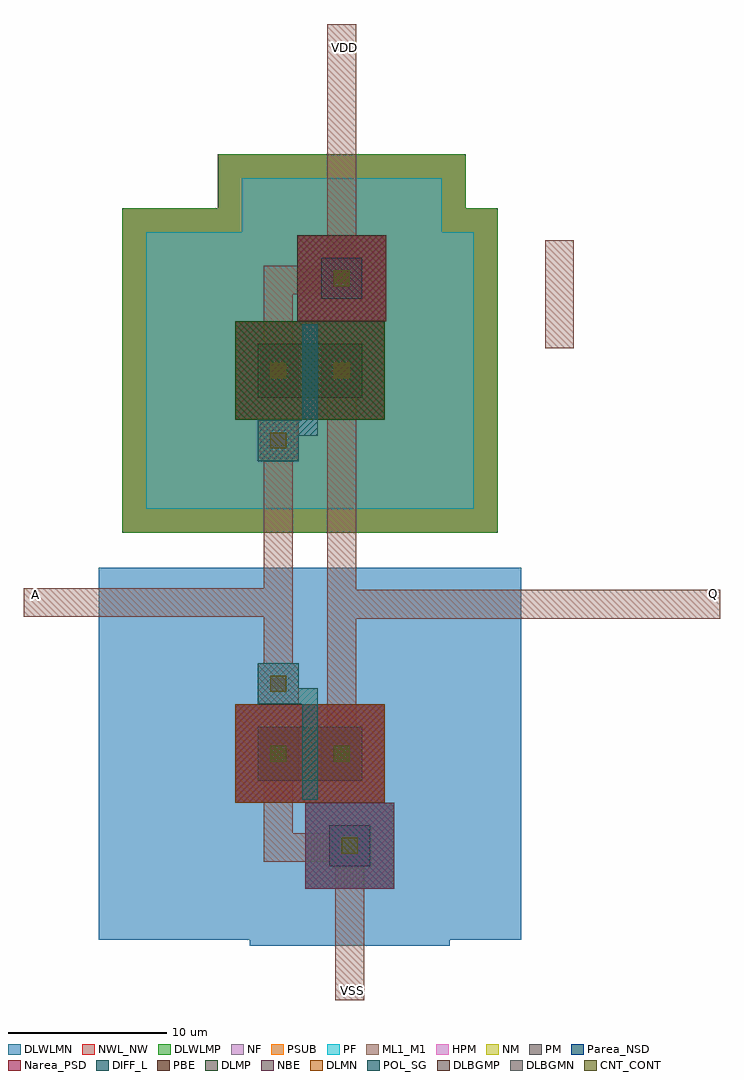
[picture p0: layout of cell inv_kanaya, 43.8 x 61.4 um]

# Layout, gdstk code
import gdstk
lib = gdstk.Library(unit=1e-6, precision=1e-07)
def R(c, l, rs):  # rectangles x0, y0, x1, y1
    for r in rs: c.add(gdstk.rectangle(r[:2], r[2:], *l))
DIFF_L = (3, 0)
NM = (7, 0)
POL_SG = (8, 0)
Narea_PSD = (9, 0)
CNT_CONT = (11, 0)
ML1_M1 = (13, 0)
NF = (25, 0)
PF = (26, 0)
Parea_NSD = (28, 0)
HPM = (33, 0)
PM = (35, 0)
NWL_NW = (36, 0)
PSUB = (140, 0)
PBE = (146, 0)
NBE = (147, 0)
DLWLMP = (150, 0)
DLWLMN = (151, 0)
DLMP = (157, 0)
DLMN = (158, 0)
DLBGMP = (177, 0)
DLBGMN = (178, 0)

dcont = lib.new_cell('dcont')
R(dcont, DIFF_L, [(-1.3,-1.3,1.3,1.3)])
R(dcont, CNT_CONT, [(-0.5,-0.5,0.5,0.5)])
R(dcont, ML1_M1, [(-1.3,-1.3,1.3,1.3), (-0.5,-0.5,0.5,0.5)])

pcont = lib.new_cell('pcont')
R(pcont, POL_SG, [(-1.3,-1.3,1.3,1.3)])
R(pcont, CNT_CONT, [(-0.5,-0.5,0.5,0.5)])
R(pcont, ML1_M1, [(-1.3,-1.3,1.3,1.3), (-0.5,-0.5,0.5,0.5)])

c_dcont = lib.new_cell('DCONT')
R(c_dcont, DIFF_L, [(-1.3,-1.3,1.3,1.3)])
R(c_dcont, CNT_CONT, [(-0.5,-0.5,0.5,0.5)])
R(c_dcont, ML1_M1, [(-1.3,-1.3,1.3,1.3), (-0.5,-0.5,0.5,0.5)])

nsubcont = lib.new_cell('nsubcont')
R(nsubcont, NM, [(-2.8,-2.7,2.8,2.7)])
R(nsubcont, Narea_PSD, [(-2.8,-2.7,2.8,2.7)])
R(nsubcont, NF, [(-6.3,-6.3,6.3,6.3)])
R(nsubcont, PF, [(-6.3,-6.3,6.3,6.3)])
R(nsubcont, HPM, [(-2.8,-2.7,2.8,2.7)])
R(nsubcont, PM, [(-2.8,-2.7,2.8,2.7)])
R(nsubcont, NWL_NW, [(-7.8,-7.8,7.8,7.8)])
R(nsubcont, PSUB, [(-6.3,-6.3,6.3,6.3)])
R(nsubcont, DLWLMP, [(-7.8,-7.8,7.8,7.8)])
R(nsubcont, DLBGMP, [(-2.8,-2.7,2.8,2.7)])
nsubcont.add(gdstk.Reference(c_dcont, (0,0)))

mp_1 = lib.new_cell('MP$1')
R(mp_1, DIFF_L, [(0,3.6,6.6,7)])
R(mp_1, NM, [(-1.4,2.2,8,8.4)])
R(mp_1, NF, [(-7,-3.4,13.6,14)])
R(mp_1, PF, [(-7,-3.4,13.6,14)])
R(mp_1, Parea_NSD, [(-1.4,2.2,8,8.4)])
R(mp_1, HPM, [(-1.4,2.2,8,8.4)])
R(mp_1, NWL_NW, [(-8.5,-4.9,15.1,15.5)])
R(mp_1, PSUB, [(-7,-3.4,13.6,14)])
R(mp_1, PBE, [(-1.4,2.2,8,8.4)])
R(mp_1, DLWLMP, [(-8.5,-4.9,15.1,15.5)])
R(mp_1, DLMP, [(-1.4,2.2,8,8.4)])
mp_1.add(gdstk.FlexPath([(1.3,3.6),(1.3,7)], 2.6, ends="flush", simple_path=True, layer=13, datatype=0))  # ML1_M1
mp_1.add(gdstk.FlexPath([(5.3,3.6),(5.3,7)], 2.6, ends="flush", simple_path=True, layer=13, datatype=0))  # ML1_M1
mp_1.add(gdstk.FlexPath([(1.3,6),(1.3,9.3)], 1.8, ends="flush", simple_path=True, layer=13, datatype=0))  # ML1_M1
mp_1.add(gdstk.FlexPath([(5.3,1.3),(5.3,4.6)], 1.8, ends="flush", simple_path=True, layer=13, datatype=0))  # ML1_M1
mp_1.add(gdstk.FlexPath([(3.3,3.6),(3.3,7)], 1, ends=(1.2, 1.2), simple_path=True, layer=8, datatype=0))  # POL_SG
mp_1.add(gdstk.FlexPath([(1.3,1.7),(3.3,1.7),(3.3,2.4)], 1, ends="flush", simple_path=True, layer=8, datatype=0))  # POL_SG
mp_1.add(gdstk.Reference(dcont, (1.3,5.3)))
mp_1.add(gdstk.Reference(dcont, (5.3,5.3)))
mp_1.add(gdstk.Reference(pcont, (1.3,0.9)))
mp_1.add(gdstk.Reference(nsubcont, (5.3,11.1)))

psubcont = lib.new_cell('psubcont')
R(psubcont, NM, [(-2.8,-2.7,2.8,2.7)])
R(psubcont, Parea_NSD, [(-2.8,-2.7,2.8,2.7)])
R(psubcont, HPM, [(-2.8,-2.7,2.8,2.7)])
R(psubcont, PM, [(-2.8,-2.7,2.8,2.7)])
R(psubcont, DLWLMN, [(-6.3,-6.3,6.3,6.3)])
R(psubcont, DLBGMN, [(-2.8,-2.7,2.8,2.7)])
psubcont.add(gdstk.Reference(c_dcont, (0,0)))

mn_1 = lib.new_cell('MN$1')
R(mn_1, DIFF_L, [(0,3.6,6.6,7)])
R(mn_1, Narea_PSD, [(-1.4,2.2,8,8.4)])
R(mn_1, HPM, [(-1.4,2.2,8,8.4)])
R(mn_1, PM, [(-1.4,2.2,8,8.4)])
R(mn_1, NBE, [(-1.4,2.2,8,8.4)])
R(mn_1, DLWLMN, [(-10,-6.4,16.6,17)])
R(mn_1, DLMN, [(-1.4,2.2,8,8.4)])
mn_1.add(gdstk.FlexPath([(1.3,3.6),(1.3,7)], 2.6, ends="flush", simple_path=True, layer=13, datatype=0))  # ML1_M1
mn_1.add(gdstk.FlexPath([(5.3,3.6),(5.3,7)], 2.6, ends="flush", simple_path=True, layer=13, datatype=0))  # ML1_M1
mn_1.add(gdstk.FlexPath([(1.3,1.3),(1.3,4.6)], 1.8, ends="flush", simple_path=True, layer=13, datatype=0))  # ML1_M1
mn_1.add(gdstk.FlexPath([(5.3,6),(5.3,9.3)], 1.8, ends="flush", simple_path=True, layer=13, datatype=0))  # ML1_M1
mn_1.add(gdstk.FlexPath([(3.3,3.6),(3.3,7)], 1, ends=(1.2, 1.2), simple_path=True, layer=8, datatype=0))  # POL_SG
mn_1.add(gdstk.FlexPath([(1.3,8.9),(3.3,8.9),(3.3,8.2)], 1, ends="flush", simple_path=True, layer=8, datatype=0))  # POL_SG
mn_1.add(gdstk.Reference(dcont, (1.3,5.3)))
mn_1.add(gdstk.Reference(dcont, (5.3,5.3)))
mn_1.add(gdstk.Reference(pcont, (1.3,9.7)))
mn_1.add(gdstk.Reference(psubcont, (5.8,-0.5)))

inv_kanaya = lib.new_cell('inv_kanaya')
inv_kanaya.add(gdstk.FlexPath([(11.4,42.4),(11.4,30)], 1.8, ends="extended", simple_path=True, layer=13, datatype=0))  # ML1_M1
inv_kanaya.add(gdstk.FlexPath([(15.4,45.6),(15.4,23.7)], 1.8, ends="extended", simple_path=True, layer=13, datatype=0))  # ML1_M1
inv_kanaya.add(gdstk.FlexPath([(15.5,53.4),(11.4,53.4)], 1.8, ends="extended", simple_path=True, layer=13, datatype=0))  # ML1_M1
inv_kanaya.add(gdstk.FlexPath([(11.4,20.2),(11.4,17.7),(15.7,17.7)], 1.8, ends="extended", simple_path=True, layer=13, datatype=0))  # ML1_M1
inv_kanaya.add(gdstk.FlexPath([(15.9,17.9),(15.9,9)], 1.8, ends="extended", simple_path=True, layer=13, datatype=0))  # ML1_M1
inv_kanaya.add(gdstk.FlexPath([(15.4,53.7),(15.4,68.6)], 1.8, ends="extended", simple_path=True, layer=13, datatype=0))  # ML1_M1
inv_kanaya.add(gdstk.FlexPath([(11.4,33.1),(-3.7,33.1)], 1.8, ends="extended", simple_path=True, layer=13, datatype=0))  # ML1_M1
inv_kanaya.add(gdstk.FlexPath([(15.4,33),(38.3,33)], 1.8, ends="extended", simple_path=True, layer=13, datatype=0))  # ML1_M1
inv_kanaya.add(gdstk.FlexPath([(11.4,53.1),(11.4,51.4)], 1.8, ends="extended", simple_path=True, layer=13, datatype=0))  # ML1_M1
inv_kanaya.add(gdstk.FlexPath([(29.1,55),(29.1,50)], 1.8, ends="extended", simple_path=True, layer=13, datatype=0))  # ML1_M1
inv_kanaya.add(gdstk.Reference(mp_1, (10.1,42.4)))
inv_kanaya.add(gdstk.Reference(mn_1, (10.1,18.3)))
inv_kanaya.add(gdstk.Label('VDD', (15.6,68), layer=13, texttype=0))
inv_kanaya.add(gdstk.Label('Q', (38.8,33.7), layer=13, texttype=0))
inv_kanaya.add(gdstk.Label('VSS', (16.1,8.7), layer=13, texttype=0))
inv_kanaya.add(gdstk.Label('A', (-3.9,33.6), layer=13, texttype=0))

lib.write_gds('inv_kanaya.gds')
